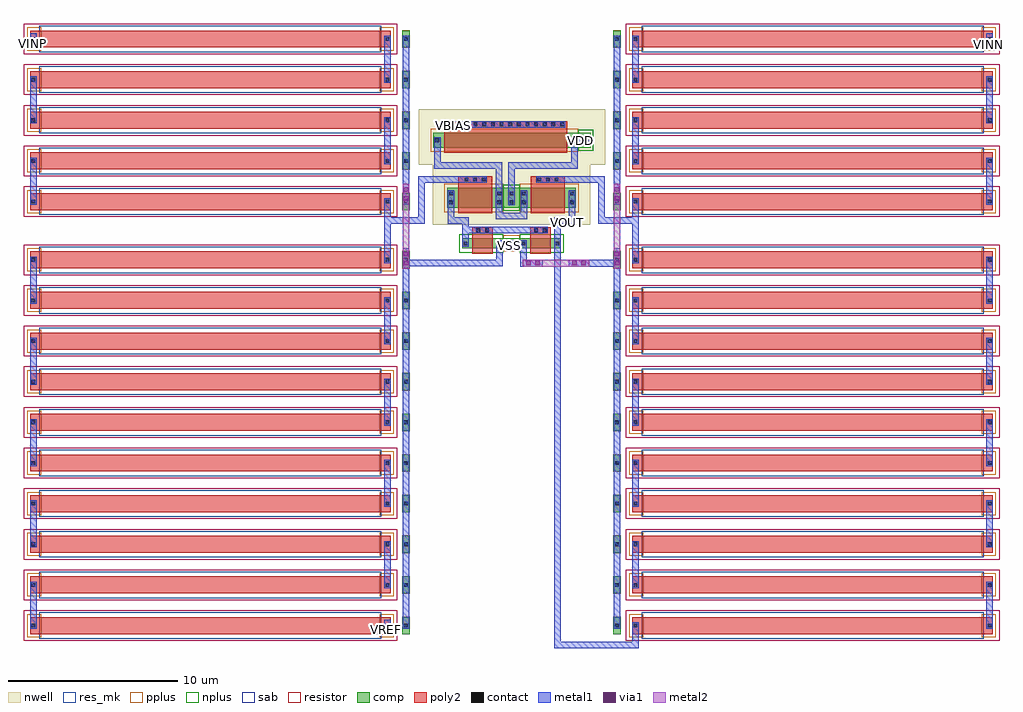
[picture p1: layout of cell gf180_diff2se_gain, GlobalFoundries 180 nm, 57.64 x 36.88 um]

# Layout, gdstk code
from math import pi, radians
import gdstk
lib = gdstk.Library(unit=1e-6, precision=1e-09)
def R(c, l, rs):  # rectangles x0, y0, x1, y1
    for r in rs: c.add(gdstk.rectangle(r[:2], r[2:], *l))
def A(c, l, x, y, w, h, nx, ny, dx, dy):  # array of equal rectangles
    R(c, l, [(x+i*dx, y+j*dy, x+i*dx+w, y+j*dy+h) for i in range(nx) for j in range(ny)])
nwell = (21, 0)
comp = (22, 0)
poly2 = (30, 0)
pplus = (31, 0)
nplus = (32, 0)
contact = (33, 0)
metal1 = (34, 0)
via1 = (35, 0)
metal2 = (36, 0)
sab = (49, 0)
resistor = (62, 0)
res_mk = (110, 5)

pfet_8 = lib.new_cell('pfet$8')
R(pfet_8, nwell, [(-1.32,-0.99,4.43,2.57)])
R(pfet_8, comp, [(-0.46,0,3.57,1.2)])
R(pfet_8, poly2, [(0.19,-0.3,2.19,1.88)])
R(pfet_8, pplus, [(-0.63,-0.24,2.84,1.44)])
R(pfet_8, nplus, [(2.84,-0.17,3.74,1.37)])
A(pfet_8, contact, 0.57, 1.58, 0.22, 0.22, 3, 1, 0.51, 0)
R(pfet_8, contact, [(-0.34,0.235,-0.12,0.455), (2.5,0.235,2.72,0.455), (3.23,0.235,3.45,0.455), (-0.34,0.745,-0.12,0.965), (2.5,0.745,2.72,0.965), (3.23,0.745,3.45,0.965)])
R(pfet_8, metal1, [(-0.42,0.155,-0.04,1.045), (2.42,0.155,2.8,1.045), (3.15,0.155,3.53,1.045), (0.49,1.5,1.89,1.88)])

pfet_2_1 = lib.new_cell('pfet$2$1')
R(pfet_2_1, nwell, [(-1.32,-0.99,9.68,2.27)])
R(pfet_2_1, comp, [(-0.46,0,8.82,0.9)])
R(pfet_2_1, poly2, [(0.19,-0.3,7.44,1.58)])
R(pfet_2_1, pplus, [(-0.63,-0.24,8.09,1.14)])
R(pfet_2_1, nplus, [(8.09,-0.17,8.99,1.07)])
A(pfet_2_1, contact, 0.39, 1.28, 0.22, 0.22, 14, 1, 0.51, 0)
R(pfet_2_1, contact, [(-0.34,0.34,-0.12,0.56), (7.75,0.34,7.97,0.56), (8.48,0.34,8.7,0.56)])
R(pfet_2_1, metal1, [(-0.42,0.26,-0.04,0.64), (7.67,0.26,8.05,0.64), (8.4,0.26,8.78,0.64), (0.31,1.2,7.32,1.58)])

nfet_3 = lib.new_cell('nfet$3')
R(nfet_3, comp, [(-0.42,0,2.71,0.6)])
R(nfet_3, poly2, [(0.19,-0.3,1.39,1.26)])
R(nfet_3, pplus, [(2,-0.17,2.88,0.77)])
R(nfet_3, nplus, [(-0.59,-0.24,2,0.84)])
R(nfet_3, contact, [(-0.32,0.19,-0.1,0.41), (1.68,0.19,1.9,0.41), (2.39,0.19,2.61,0.41), (0.425,0.97,0.645,1.19), (0.935,0.97,1.155,1.19)])
R(nfet_3, metal1, [(-0.4,0.11,-0.02,0.49), (1.6,0.11,1.98,0.49), (2.31,0.11,2.69,0.49), (0.345,0.89,1.235,1.27)])

ppolyf_u_high_rs_resisto = lib.new_cell('ppolyf_u_high_Rs_resistor$1')
A(ppolyf_u_high_rs_resisto, comp, -1.76, 0, 0.42, 1, 1, 5, 0, 2.4)
A(ppolyf_u_high_rs_resisto, poly2, -0.64, 0, 21.28, 1, 1, 5, 0, 2.4)
A(ppolyf_u_high_rs_resisto, pplus, -0.82, -0.18, 0.82, 1.36, 1, 5, 0, 2.4)
A(ppolyf_u_high_rs_resisto, pplus, 20, -0.18, 0.82, 1.36, 1, 5, 0, 2.4)
A(ppolyf_u_high_rs_resisto, pplus, -1.78, -0.02, 0.46, 1.04, 1, 5, 0, 2.4)
A(ppolyf_u_high_rs_resisto, contact, -1.66, 0.39, 0.22, 0.22, 1, 5, 0, 2.4)
A(ppolyf_u_high_rs_resisto, contact, -0.57, 0.39, 0.22, 0.22, 1, 5, 0, 2.4)
A(ppolyf_u_high_rs_resisto, contact, 20.35, 0.39, 0.22, 0.22, 1, 5, 0, 2.4)
A(ppolyf_u_high_rs_resisto, metal1, -1.74, 0.31, 0.38, 0.38, 1, 5, 0, 2.4)
A(ppolyf_u_high_rs_resisto, metal1, -0.65, 0.31, 0.38, 0.38, 1, 5, 0, 2.4)
A(ppolyf_u_high_rs_resisto, metal1, 20.27, 0.31, 0.38, 0.38, 1, 5, 0, 2.4)
A(ppolyf_u_high_rs_resisto, sab, -0.1, -0.28, 20.2, 1.56, 1, 5, 0, 2.4)
A(ppolyf_u_high_rs_resisto, resistor, -1.04, -0.4, 22.08, 1.8, 1, 5, 0, 2.4)
A(ppolyf_u_high_rs_resisto, res_mk, 0, 0, 20, 1, 1, 5, 0, 2.4)

c_ppolyf_u_high_rs_resisto = lib.new_cell('ppolyf_u_high_Rs_resistor$2')
A(c_ppolyf_u_high_rs_resisto, comp, -1.76, 0, 0.42, 1, 1, 10, 0, 2.4)
A(c_ppolyf_u_high_rs_resisto, poly2, -0.64, 0, 21.28, 1, 1, 10, 0, 2.4)
A(c_ppolyf_u_high_rs_resisto, pplus, -0.82, -0.18, 0.82, 1.36, 1, 10, 0, 2.4)
A(c_ppolyf_u_high_rs_resisto, pplus, 20, -0.18, 0.82, 1.36, 1, 10, 0, 2.4)
A(c_ppolyf_u_high_rs_resisto, pplus, -1.78, -0.02, 0.46, 1.04, 1, 10, 0, 2.4)
A(c_ppolyf_u_high_rs_resisto, contact, -1.66, 0.39, 0.22, 0.22, 1, 10, 0, 2.4)
A(c_ppolyf_u_high_rs_resisto, contact, -0.57, 0.39, 0.22, 0.22, 1, 10, 0, 2.4)
A(c_ppolyf_u_high_rs_resisto, contact, 20.35, 0.39, 0.22, 0.22, 1, 10, 0, 2.4)
A(c_ppolyf_u_high_rs_resisto, metal1, -1.74, 0.31, 0.38, 0.38, 1, 10, 0, 2.4)
A(c_ppolyf_u_high_rs_resisto, metal1, -0.65, 0.31, 0.38, 0.38, 1, 10, 0, 2.4)
A(c_ppolyf_u_high_rs_resisto, metal1, 20.27, 0.31, 0.38, 0.38, 1, 10, 0, 2.4)
A(c_ppolyf_u_high_rs_resisto, sab, -0.1, -0.28, 20.2, 1.56, 1, 10, 0, 2.4)
A(c_ppolyf_u_high_rs_resisto, resistor, -1.04, -0.4, 22.08, 1.8, 1, 10, 0, 2.4)
A(c_ppolyf_u_high_rs_resisto, res_mk, 0, 0, 20, 1, 1, 10, 0, 2.4)

via_dev_36 = lib.new_cell('via_dev$36')
R(via_dev_36, metal1, [(0,0,0.4,1.2)])
R(via_dev_36, via1, [(0.07,0.205,0.33,0.465), (0.07,0.735,0.33,0.995)])
R(via_dev_36, metal2, [(0,0,0.4,1.2)])

via_dev_2_2 = lib.new_cell('via_dev$2$2')
R(via_dev_2_2, metal1, [(0,0,1.2,0.4)])
R(via_dev_2_2, via1, [(0.205,0.07,0.465,0.33), (0.735,0.07,0.995,0.33)])
R(via_dev_2_2, metal2, [(0,0,1.2,0.4)])

gf180_diff2se_gain = lib.new_cell('gf180_diff2se_gain')
R(gf180_diff2se_gain, nwell, [(-0.03,4.12,8.95,5.09)])
gf180_diff2se_gain.add(gdstk.FlexPath([(3.75,0.14),(3.75,-1.02),(-1.77,-1.02)], 0.4, ends="flush", simple_path=True, layer=34, datatype=0))  # metal1
gf180_diff2se_gain.add(gdstk.FlexPath([(8.705,-1.03),(10.69,-1.03)], 0.4, ends="flush", simple_path=True, layer=34, datatype=0))  # metal1
gf180_diff2se_gain.add(gdstk.FlexPath([(5.17,0.14),(5.17,-1.23)], 0.4, ends="flush", simple_path=True, layer=34, datatype=0))  # metal1
gf180_diff2se_gain.add(gdstk.FlexPath([(3.75,0.14),(5.17,0.14)], 0.38, ends="flush", simple_path=True, layer=34, datatype=0))  # metal1
gf180_diff2se_gain.add(gdstk.FlexPath([(0.89,2.575),(0.89,1.48),(1.75,1.48),(1.75,0.14)], 0.38, ends="flush", simple_path=True, layer=34, datatype=0))  # metal1
gf180_diff2se_gain.add(gdstk.FlexPath([(5.915,0.92),(1.75,0.92)], 0.38, ends="flush", simple_path=True, layer=34, datatype=0))  # metal1
gf180_diff2se_gain.add(gdstk.FlexPath([(0.08,6.23),(0.08,4.73),(3.73,4.73),(3.73,1.75),(5.19,1.75),(5.19,2.575)], 0.38, ends="flush", simple_path=True, layer=34, datatype=0))  # metal1
gf180_diff2se_gain.add(gdstk.FlexPath([(4.46,3.085),(4.46,4.73),(8.17,4.73),(8.17,6.23),(8.9,6.23)], 0.38, ends="flush", simple_path=True, layer=34, datatype=0))  # metal1
gf180_diff2se_gain.add(gdstk.FlexPath([(7.17,0.14),(7.17,1.48),(8.03,1.48),(8.03,2.575)], 0.38, ends="flush", simple_path=True, layer=34, datatype=0))  # metal1
gf180_diff2se_gain.add(gdstk.FlexPath([(32.7,2.61),(32.7,4.97)], 0.38, ends="flush", simple_path=True, layer=34, datatype=0))  # metal1
gf180_diff2se_gain.add(gdstk.FlexPath([(32.7,9.81),(32.7,7.41)], 0.38, ends="flush", simple_path=True, layer=34, datatype=0))  # metal1
gf180_diff2se_gain.add(gdstk.FlexPath([(11.78,12.21),(11.78,9.81)], 0.38, ends="flush", simple_path=True, layer=34, datatype=0))  # metal1
gf180_diff2se_gain.add(gdstk.FlexPath([(11.78,5.01),(11.78,7.41)], 0.38, ends="flush", simple_path=True, layer=34, datatype=0))  # metal1
gf180_diff2se_gain.add(gdstk.FlexPath([(10.69,2.61),(10.69,12.21)], 0.4, ends="flush", simple_path=True, layer=34, datatype=0))  # metal1
gf180_diff2se_gain.add(gdstk.FlexPath([(10.69,-22.36),(10.69,-0.76)], 0.4, ends="flush", simple_path=True, layer=34, datatype=0))  # metal1
gf180_diff2se_gain.add(gdstk.FlexPath([(-2.86,-22.09),(-2.86,-22.75)], 0.38, ends="flush", simple_path=True, layer=34, datatype=0))  # metal1
gf180_diff2se_gain.add(gdstk.FlexPath([(7.12,3.92),(9.77,3.92),(9.77,1.48),(11.78,1.48),(11.78,2.72)], 0.38, ends="flush", simple_path=True, layer=34, datatype=0))  # metal1
gf180_diff2se_gain.add(gdstk.FlexPath([(32.7,-22.43),(32.7,-20.03)], 0.38, ends="flush", simple_path=True, layer=34, datatype=0))  # metal1
gf180_diff2se_gain.add(gdstk.FlexPath([(32.7,-15.11),(32.7,-17.62)], 0.38, ends="flush", simple_path=True, layer=34, datatype=0))  # metal1
gf180_diff2se_gain.add(gdstk.FlexPath([(32.7,-10.32),(32.7,-12.83)], 0.38, ends="flush", simple_path=True, layer=34, datatype=0))  # metal1
gf180_diff2se_gain.add(gdstk.FlexPath([(32.7,-5.62),(32.7,-8.13)], 0.38, ends="flush", simple_path=True, layer=34, datatype=0))  # metal1
gf180_diff2se_gain.add(gdstk.FlexPath([(32.7,-0.83),(32.7,-3.34)], 0.38, ends="flush", simple_path=True, layer=34, datatype=0))  # metal1
gf180_diff2se_gain.add(gdstk.FlexPath([(11.78,-17.52),(11.78,-20.03)], 0.38, ends="flush", simple_path=True, layer=34, datatype=0))  # metal1
gf180_diff2se_gain.add(gdstk.FlexPath([(11.78,-12.73),(11.78,-15.24)], 0.38, ends="flush", simple_path=True, layer=34, datatype=0))  # metal1
gf180_diff2se_gain.add(gdstk.FlexPath([(11.78,-8.03),(11.78,-10.54)], 0.38, ends="flush", simple_path=True, layer=34, datatype=0))  # metal1
gf180_diff2se_gain.add(gdstk.FlexPath([(11.78,-3.24),(11.78,-5.75)], 0.38, ends="flush", simple_path=True, layer=34, datatype=0))  # metal1
gf180_diff2se_gain.add(gdstk.FlexPath([(11.78,-0.83),(11.78,1.48)], 0.38, ends="flush", simple_path=True, layer=34, datatype=0))  # metal1
gf180_diff2se_gain.add(gdstk.FlexPath([(11.78,-22.43),(11.78,-23.58),(7.17,-23.58),(7.17,0.09)], 0.38, ends="flush", simple_path=True, layer=34, datatype=0))  # metal1
gf180_diff2se_gain.add(gdstk.FlexPath([(32.7,12.54),(32.7,11.77)], 0.38, ends="flush", simple_path=True, layer=34, datatype=0))  # metal1
gf180_diff2se_gain.add(gdstk.FlexPath([(-23.78,2.61),(-23.78,4.97)], 0.38, ends="flush", simple_path=True, layer=34, datatype=0))  # metal1
gf180_diff2se_gain.add(gdstk.FlexPath([(-23.78,9.81),(-23.78,7.41)], 0.38, ends="flush", simple_path=True, layer=34, datatype=0))  # metal1
gf180_diff2se_gain.add(gdstk.FlexPath([(-2.86,12.21),(-2.86,9.81)], 0.38, ends="flush", simple_path=True, layer=34, datatype=0))  # metal1
gf180_diff2se_gain.add(gdstk.FlexPath([(-2.86,5.01),(-2.86,7.41)], 0.38, ends="flush", simple_path=True, layer=34, datatype=0))  # metal1
gf180_diff2se_gain.add(gdstk.FlexPath([(-1.77,2.61),(-1.77,12.21)], 0.4, ends="flush", simple_path=True, layer=34, datatype=0))  # metal1
gf180_diff2se_gain.add(gdstk.FlexPath([(-1.77,-22.36),(-1.77,-0.76)], 0.4, ends="flush", simple_path=True, layer=34, datatype=0))  # metal1
gf180_diff2se_gain.add(gdstk.FlexPath([(1.8,3.92),(-0.85,3.92),(-0.85,1.48),(-2.86,1.48),(-2.86,2.72)], 0.38, ends="flush", simple_path=True, layer=34, datatype=0))  # metal1
gf180_diff2se_gain.add(gdstk.FlexPath([(-23.78,-22.43),(-23.78,-20.03)], 0.38, ends="flush", simple_path=True, layer=34, datatype=0))  # metal1
gf180_diff2se_gain.add(gdstk.FlexPath([(-23.78,-15.11),(-23.78,-17.62)], 0.38, ends="flush", simple_path=True, layer=34, datatype=0))  # metal1
gf180_diff2se_gain.add(gdstk.FlexPath([(-23.78,-10.32),(-23.78,-12.83)], 0.38, ends="flush", simple_path=True, layer=34, datatype=0))  # metal1
gf180_diff2se_gain.add(gdstk.FlexPath([(-23.78,-5.62),(-23.78,-8.13)], 0.38, ends="flush", simple_path=True, layer=34, datatype=0))  # metal1
gf180_diff2se_gain.add(gdstk.FlexPath([(-23.78,-0.83),(-23.78,-3.34)], 0.38, ends="flush", simple_path=True, layer=34, datatype=0))  # metal1
gf180_diff2se_gain.add(gdstk.FlexPath([(-2.86,-17.52),(-2.86,-20.03)], 0.38, ends="flush", simple_path=True, layer=34, datatype=0))  # metal1
gf180_diff2se_gain.add(gdstk.FlexPath([(-2.86,-12.73),(-2.86,-15.24)], 0.38, ends="flush", simple_path=True, layer=34, datatype=0))  # metal1
gf180_diff2se_gain.add(gdstk.FlexPath([(-2.86,-8.03),(-2.86,-10.54)], 0.38, ends="flush", simple_path=True, layer=34, datatype=0))  # metal1
gf180_diff2se_gain.add(gdstk.FlexPath([(-2.86,-3.24),(-2.86,-5.75)], 0.38, ends="flush", simple_path=True, layer=34, datatype=0))  # metal1
gf180_diff2se_gain.add(gdstk.FlexPath([(-2.86,-0.83),(-2.86,1.48)], 0.38, ends="flush", simple_path=True, layer=34, datatype=0))  # metal1
gf180_diff2se_gain.add(gdstk.FlexPath([(-23.78,12.54),(-23.78,11.77)], 0.38, ends="flush", simple_path=True, layer=34, datatype=0))  # metal1
gf180_diff2se_gain.add(gdstk.FlexPath([(5.985,-1.03),(8.4,-1.03)], 0.4, ends="flush", simple_path=True, layer=36, datatype=0))  # metal2
gf180_diff2se_gain.add(gdstk.FlexPath([(10.69,2.785),(10.69,-0.485)], 0.4, ends="flush", simple_path=True, layer=36, datatype=0))  # metal2
gf180_diff2se_gain.add(gdstk.FlexPath([(-1.77,2.785),(-1.77,-0.485)], 0.4, ends="flush", simple_path=True, layer=36, datatype=0))  # metal2
gf180_diff2se_gain.add(gdstk.Reference(pfet_8, (1.12,2.23)))
gf180_diff2se_gain.add(gdstk.Reference(pfet_2_1, (0.31,5.78)))
gf180_diff2se_gain.add(gdstk.Reference(nfet_3, (1.96,-0.16)))
gf180_diff2se_gain.add(gdstk.Reference(pfet_8, (7.8,2.23), rotation=pi, x_reflection=True))
gf180_diff2se_gain.add(gdstk.Reference(ppolyf_u_high_rs_resisto, (12.24,2.11)))
gf180_diff2se_gain.add(gdstk.Reference(c_ppolyf_u_high_rs_resisto, (12.24,-22.93)))
gf180_diff2se_gain.add(gdstk.Reference(via_dev_36, (10.49,-1.35)))
gf180_diff2se_gain.add(gdstk.Reference(via_dev_36, (10.49,2.45)))
gf180_diff2se_gain.add(gdstk.Reference(ppolyf_u_high_rs_resisto, (-3.32,2.11), rotation=pi, x_reflection=True))
gf180_diff2se_gain.add(gdstk.Reference(c_ppolyf_u_high_rs_resisto, (-3.32,-22.93), rotation=pi, x_reflection=True))
gf180_diff2se_gain.add(gdstk.Reference(via_dev_36, (-1.57,-1.35), rotation=pi, x_reflection=True))
gf180_diff2se_gain.add(gdstk.Reference(via_dev_36, (-1.57,2.45), rotation=pi, x_reflection=True))
gf180_diff2se_gain.add(gdstk.Reference(nfet_3, (6.96,-0.16), rotation=pi, x_reflection=True))
gf180_diff2se_gain.add(gdstk.Reference(via_dev_2_2, (5.12,-1.23)))
gf180_diff2se_gain.add(gdstk.Reference(via_dev_2_2, (7.84,-1.23)))
gf180_diff2se_gain.add(gdstk.Label('VINP', (-23.85,11.93), layer=34, texttype=10))
gf180_diff2se_gain.add(gdstk.Label('VINN', (32.65,11.89), layer=34, texttype=10))
gf180_diff2se_gain.add(gdstk.Label('VSS', (4.35,0.03), layer=34, texttype=10))
gf180_diff2se_gain.add(gdstk.Label('VDD', (8.53,6.23), layer=34, texttype=10))
gf180_diff2se_gain.add(gdstk.Label('VBIAS', (1.04,7.1), layer=34, texttype=10))
gf180_diff2se_gain.add(gdstk.Label('VREF', (-2.92,-22.66), layer=34, texttype=10))
gf180_diff2se_gain.add(gdstk.Label('VOUT', (7.77,1.38), layer=34, texttype=10))

lib.write_gds('gf180_diff2se_gain.gds')
